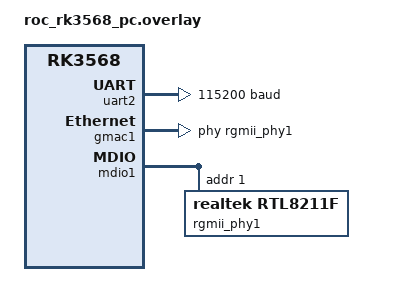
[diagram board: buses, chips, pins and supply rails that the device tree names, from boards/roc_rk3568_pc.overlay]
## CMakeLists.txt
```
# SPDX-License-Identifier: Apache-2.0

cmake_minimum_required(VERSION 3.28.0)

find_package(Zephyr REQUIRED HINTS $ENV{ZEPHYR_BASE})
project(gmac_bench)

target_sources(app PRIVATE
  src/main.c
  src/netio_srv.c
)
```

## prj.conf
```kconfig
# SPDX-License-Identifier: Apache-2.0

# RK3568 DWC GMAC bench image: iperf2-speaking zperf server, static IPv4,
# Ethernet/MMC statistics readable from the shell.

CONFIG_NETWORKING=y
CONFIG_NET_IPV4=y
CONFIG_NET_IPV6=n
CONFIG_NET_UDP=y
CONFIG_NET_TCP=y
CONFIG_NET_SOCKETS=y
CONFIG_NET_L2_ETHERNET=y
CONFIG_ETH_DRIVER=y

# zperf speaks iperf2 by default; the same Pi iperf2 used for the Linux
# ground truth can drive this image.
CONFIG_NET_ZPERF=y
CONFIG_NET_ZPERF_SERVER=y
CONFIG_NET_ZPERF_MAX_PACKET_SIZE=1500
CONFIG_NET_MAX_CONTEXTS=8

# net_sock_svc needs one poll entry per socket service (zperf UDP+TCP listeners,
# DHCP, ...); the default of 3 is not enough and aborts the service thread.
CONFIG_ZVFS_POLL_MAX=16

# The zperf iperf2 server registers its listening sockets with the socket
# service dispatcher. Upstream's zperf sample uses a cooperative dispatcher
# thread priority and a deeper stack; the 2 KiB default is not enough for the
# poll plus the logging paths on this build.
CONFIG_NET_SOCKETS_SERVICE_THREAD_PRIO=-1
CONFIG_NET_SOCKETS_SERVICE_STACK_SIZE=4096
CONFIG_STACK_SENTINEL=y
# The interface up/down events run in the net_mgmt thread. The 1536 byte
# ARM64 default is not enough once the bench callbacks log.
CONFIG_NET_MGMT_EVENT_STACK_SIZE=4096
CONFIG_NET_MAX_CONN=8

# Static addressing: the bench port sits on the same L2 segment as the Pi.
CONFIG_NET_CONFIG_SETTINGS=y
CONFIG_NET_CONFIG_MY_IPV4_ADDR="192.168.0.200"
CONFIG_NET_CONFIG_MY_IPV4_NETMASK="255.255.255.0"
CONFIG_NET_CONFIG_MY_IPV4_GW="192.168.0.1"
CONFIG_NET_CONFIG_AUTO_INIT=y

# Statistics: generic + Ethernet + per-MMC-counter vendor keys.
CONFIG_NET_STATISTICS=y
CONFIG_NET_STATISTICS_PERIODIC_OUTPUT=n
CONFIG_NET_STATISTICS_ETHERNET=y
CONFIG_NET_STATISTICS_ETHERNET_VENDOR=y
CONFIG_NET_STATISTICS_USER_API=y

# One frame per net_buf: the near-MTU bench payload must not be fragmented
# inside the stack. The DWMAC driver requires a multiple of the 64-bit bus.
CONFIG_NET_BUF_FIXED_DATA_SIZE=y
CONFIG_NET_BUF_DATA_SIZE=1536

CONFIG_NET_PKT_RX_COUNT=64
CONFIG_NET_PKT_TX_COUNT=32
CONFIG_NET_BUF_RX_COUNT=192
CONFIG_NET_BUF_TX_COUNT=64

CONFIG_DWMAC_NB_RX_DESCS=64
CONFIG_DWMAC_NB_TX_DESCS=32

CONFIG_NET_TX_STACK_SIZE=2048
CONFIG_NET_RX_STACK_SIZE=4096

# Make sure the MAC is initialized (and the PHY reset is released) before the
# PHY driver probes the MDIO bus.
CONFIG_ETH_INIT_PRIORITY=60
CONFIG_PHY_INIT_PRIORITY=65

CONFIG_SHELL=y
CONFIG_NET_SHELL=y
CONFIG_SHELL_CMDS_RESIZE=n

CONFIG_CACHE_MANAGEMENT=y
CONFIG_SPEED_OPTIMIZATIONS=y
CONFIG_TEST_RANDOM_GENERATOR=y

CONFIG_LOG=y
CONFIG_NET_LOG=y
CONFIG_LOG_MODE_IMMEDIATE=y
CONFIG_LOG_DEFAULT_LEVEL=3
CONFIG_ETHERNET_LOG_LEVEL_INF=y
CONFIG_PHY_LOG_LEVEL_INF=y
```

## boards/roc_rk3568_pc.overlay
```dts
/*
 * Bench wiring of the RK3568 E4AP5G1-ITX board, which is booted with the
 * ROC-RK3568-PC board support:
 *
 *  - the console runs at 115200 baud (the U-Boot/hub bench port),
 *  - the cabled port is gmac1 at 0xfe010000 with an RTL8211F PHY at MDIO
 *    address 1 and the PHY reset line on GPIO3 bit 18.
 *
 * SPDX-License-Identifier: Apache-2.0
 */

/ {
	chosen {
		zephyr,console = &uart2;
		zephyr,shell-uart = &uart2;
	};
};

&uart2 {
	current-speed = <115200>;
	status = "okay";
};

&gmac1 {
	status = "okay";
	phy-handle = <&rgmii_phy1>;
	local-mac-address = [02 e4 a5 35 68 01];
};

&mdio1 {
	rgmii_phy1: ethernet-phy@1 {
		compatible = "realtek,rtl8211f";
		reg = <1>;
		realtek,rgmii-delay = "none";
	};
};

/*
 * The ROC-RK3568-PC board support declares 1 MiB of SRAM. The RK3568 bench
 * board has 4 GiB of DDR and the benchmark needs deeper buffer pools, so let
 * Zephyr own the first 16 MiB of DDR starting at 0x40000000.
 */
&sram0 {
	reg = <0x40000000 0x01000000>;
};
```

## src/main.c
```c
/*
 * RK3568 DWC GMAC bench application.
 *
 * The image is brought up with a static IPv4 address so that the iperf2
 * client on the bench Pi can drive it without DHCP. The zperf library
 * provides the iperf2-compatible server; this file adds the pieces the
 * measurement needs on the board side:
 *
 *  - a `gmac` shell command dumping the driver's Ethernet statistics and
 *    the MAC's MMC counters (the receive FIFO overflow counter is the
 *    attribution point for loss reported by the client),
 *  - a periodic link/counter line so a serial capture is self-contained.
 *
 * SPDX-License-Identifier: Apache-2.0
 */

#include <zephyr/kernel.h>
#include <zephyr/logging/log.h>
#include <zephyr/net/ethernet.h>
#include <zephyr/net/ethernet_mgmt.h>
#include <zephyr/net/net_if.h>
#include <zephyr/net/net_ip.h>
#include <zephyr/net/net_mgmt.h>
#include <zephyr/shell/shell.h>

LOG_MODULE_REGISTER(gmac_bench, LOG_LEVEL_INF);

static struct net_if *bench_iface(void)
{
	return net_if_get_default();
}

static const struct device *bench_dev(void)
{
	struct net_if *iface = bench_iface();

	return iface != NULL ? net_if_get_device(iface) : NULL;
}

static void print_link(const struct shell *sh)
{
	struct net_if *iface = bench_iface();
	const struct net_linkaddr *addr;

	if (iface == NULL) {
		shell_error(sh, "no default interface");
		return;
	}

	addr = net_if_get_link_addr(iface);

	shell_fprintf(sh, SHELL_NORMAL, "iface up=%d carrier=%d mtu=%d\n",
		      net_if_is_up(iface) ? 1 : 0,
		      net_if_is_carrier_ok(iface) ? 1 : 0,
		      net_if_get_mtu(iface));
	shell_fprintf(sh, SHELL_NORMAL, "mac %02x:%02x:%02x:%02x:%02x:%02x\n",
		      addr->addr[0], addr->addr[1], addr->addr[2],
		      addr->addr[3], addr->addr[4], addr->addr[5]);
}

static void print_stats(const struct shell *sh)
{
	struct net_if *iface = bench_iface();
	struct net_stats_eth stats;

	if (iface == NULL) {
		shell_error(sh, "no default interface");
		return;
	}

	if (net_mgmt(NET_REQUEST_STATS_GET_ETHERNET, iface, &stats, sizeof(stats)) != 0) {
		shell_error(sh, "no Ethernet statistics");
		return;
	}

	shell_fprintf(sh, SHELL_NORMAL,
		      "eth rx_pkts=%u tx_pkts=%u rx_bytes=%u tx_bytes=%u\n",
		      (uint32_t)stats.pkts.rx, (uint32_t)stats.pkts.tx,
		      (uint32_t)stats.bytes.received, (uint32_t)stats.bytes.sent);
	shell_fprintf(sh, SHELL_NORMAL,
		      "eth rx_err=%u tx_err=%u crc=%u overrun=%u no_buf=%u\n",
		      (uint32_t)stats.errors.rx, (uint32_t)stats.errors.tx,
		      (uint32_t)stats.error_details.rx_crc_errors,
		      (uint32_t)stats.error_details.rx_over_errors,
		      (uint32_t)stats.error_details.rx_no_buffer_count);

	if (stats.vendor == NULL) {
		return;
	}

	for (size_t i = 0; stats.vendor[i].key != NULL; i++) {
		shell_fprintf(sh, SHELL_NORMAL, "mmc %s=%u\n", stats.vendor[i].key,
			      (uint32_t)stats.vendor[i].value);
	}
}

static int cmd_gmac_stats(const struct shell *sh, size_t argc, char **argv)
{
	ARG_UNUSED(argc);
	ARG_UNUSED(argv);

	print_stats(sh);

	return 0;
}

static int cmd_gmac_link(const struct shell *sh, size_t argc, char **argv)
{
	ARG_UNUSED(argc);
	ARG_UNUSED(argv);

	print_link(sh);

	return 0;
}

static void periodic_report(struct k_work *work);
static K_WORK_DELAYABLE_DEFINE(report_work, periodic_report);

static void periodic_report(struct k_work *work)
{
	struct net_if *iface = bench_iface();

	ARG_UNUSED(work);

	if (iface != NULL) {
		LOG_INF("uptime=%lld ms carrier=%d", k_uptime_get(),
			net_if_is_carrier_ok(iface) ? 1 : 0);
	}

	k_work_reschedule(&report_work, K_SECONDS(10));
}

static int bench_init(void)
{
	const struct device *dev = bench_dev();

	if (dev == NULL) {
		LOG_ERR("no default Ethernet device");
		return -ENODEV;
	}

	LOG_INF("bench device %s ready=%d", dev->name, device_is_ready(dev) ? 1 : 0);

	k_work_reschedule(&report_work, K_SECONDS(10));

	return 0;
}

SYS_INIT(bench_init, APPLICATION, CONFIG_APPLICATION_INIT_PRIORITY);

SHELL_STATIC_SUBCMD_SET_CREATE(gmac_cmds,
	SHELL_CMD_ARG(stats, NULL, "Dump Ethernet and MMC counters", cmd_gmac_stats, 1, 0),
	SHELL_CMD_ARG(link, NULL, "Dump interface state and MAC address", cmd_gmac_link, 1, 0),
	SHELL_SUBCMD_SET_END);

SHELL_CMD_REGISTER(gmac, &gmac_cmds, "RK3568 GMAC bench commands", NULL);
```

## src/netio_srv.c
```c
/*
 * Copyright (c) 2026 The Zephyr Project Contributors
 *
 * SPDX-License-Identifier: Apache-2.0
 *
 * netio server: the board side of the netio wire protocol used by this
 * project's throughput instrument.
 *
 * The protocol is the one Arm's MDK-Middleware netio test speaks and the one
 * the RTOS line in this repository measures with, so the unmodified upstream
 * netio client on the lab host drives both ends:
 *
 *   - TCP control connection on port 18768,
 *   - UDP data on port 18768 (same number),
 *   - 8 byte control messages, two big endian words {cmd, data}:
 *       CMD_C2S (1): the client sends data, data = packet size. The server
 *                    acknowledges and counts the datagrams it receives.
 *       CMD_RES (3): the client asks for the result, data = packet count.
 *       CMD_S2C (2): the server sends data for the window duration, then
 *                    reports the number of datagrams it sent.
 *       CMD_QUIT (0): close the control connection.
 *
 * The C2S direction (host -> board) is what the receive-side measurements
 * use; S2C is implemented so that the same client binary can run its full
 * sequence without a special case on the host.
 */

#include <zephyr/kernel.h>
#include <zephyr/net/socket.h>
#include <zephyr/shell/shell.h>
#include <zephyr/sys/byteorder.h>
#include <zephyr/logging/log.h>

LOG_MODULE_REGISTER(netio_srv, LOG_LEVEL_INF);

#define NETIO_PORT	18768
#define NETIO_WINDOW_MS	6000
#define NETIO_BUF_SIZE	2048

#define CMD_QUIT	0
#define CMD_C2S		1
#define CMD_S2C		2
#define CMD_RES		3

struct netio_msg {
	uint32_t cmd;
	uint32_t data;
};

struct netio_state {
	int listen_fd;
	int conn_fd;
	int udp_fd;
	struct sockaddr_in peer;
	uint32_t pkt_size;
	uint32_t c2s_count;
	uint32_t s2c_count;
	bool running;
};

static struct netio_state srv = {
	.listen_fd = -1,
	.conn_fd = -1,
	.udp_fd = -1,
};

static uint8_t netio_buf[NETIO_BUF_SIZE] __aligned(64);

static int netio_udp_open(void)
{
	struct sockaddr_in addr = {
		.sin_family = AF_INET,
		.sin_port = htons(NETIO_PORT),
		.sin_addr.s_addr = htonl(INADDR_ANY),
	};
	int fd;

	fd = zsock_socket(AF_INET, SOCK_DGRAM, IPPROTO_UDP);
	if (fd < 0) {
		LOG_ERR("udp socket: %d", -errno);
		return -errno;
	}

	if (zsock_bind(fd, (struct sockaddr *)&addr, sizeof(addr)) < 0) {
		LOG_ERR("udp bind: %d", -errno);
		zsock_close(fd);
		return -errno;
	}

	srv.udp_fd = fd;

	return 0;
}

static void netio_udp_drain(void)
{
	while (true) {
		ssize_t len;

		len = zsock_recvfrom(srv.udp_fd, netio_buf, sizeof(netio_buf),
				     ZSOCK_MSG_DONTWAIT, NULL, NULL);
		if (len < 0) {
			break;
		}

		srv.c2s_count++;
	}
}

static int netio_control_send(struct netio_msg *msg)
{
	ssize_t sent;

	sent = zsock_send(srv.conn_fd, msg, sizeof(*msg), 0);
	if (sent != (ssize_t)sizeof(*msg)) {
		LOG_ERR("control send: %d", sent < 0 ? -errno : -EIO);
		return -EIO;
	}

	return 0;
}

static void netio_s2c_run(uint32_t pkt_size, struct sockaddr_in *peer)
{
	uint32_t sent = 0;
	uint64_t end;

	if (pkt_size > sizeof(netio_buf)) {
		return;
	}

	peer->sin_port = htons(NETIO_PORT);
	memset(netio_buf, 0, pkt_size);

	end = k_uptime_get() + NETIO_WINDOW_MS;

	while (k_uptime_get() < end) {
		ssize_t len;

		len = zsock_sendto(srv.udp_fd, netio_buf, pkt_size, 0,
				   (struct sockaddr *)peer, sizeof(*peer));
		if (len < 0) {
			continue;
		}

		sent++;
	}

	srv.s2c_count = sent;
	LOG_INF("netio: s2c sent=%u pkt=%u", sent, pkt_size);
}

static void netio_c2s_begin(uint32_t pkt_size)
{
	srv.pkt_size = pkt_size;
	srv.c2s_count = 0;
}

static void netio_c2s_report(void)
{
	LOG_INF("netio: c2s rx=%u pkt=%u", srv.c2s_count, srv.pkt_size);
}

static void netio_handle_control(struct netio_msg *msg)
{
	struct netio_msg reply;

	switch (msg->cmd) {
	case CMD_C2S:
		netio_c2s_begin(msg->data);
		reply.cmd = sys_cpu_to_be32(CMD_C2S);
		reply.data = sys_cpu_to_be32(0);
		(void)netio_control_send(&reply);
		break;
	case CMD_RES:
		netio_c2s_report();
		reply.cmd = sys_cpu_to_be32(CMD_RES);
		reply.data = sys_cpu_to_be32(srv.c2s_count);
		(void)netio_control_send(&reply);
		break;
	case CMD_S2C:
		if (srv.udp_fd < 0) {
			(void)netio_udp_open();
		}
		netio_s2c_run(msg->data, &srv.peer);
		reply.cmd = sys_cpu_to_be32(CMD_RES);
		reply.data = sys_cpu_to_be32(srv.s2c_count);
		(void)netio_control_send(&reply);
		break;
	case CMD_QUIT:
	default:
		LOG_INF("netio: quit");
		if (srv.conn_fd >= 0) {
			zsock_close(srv.conn_fd);
			srv.conn_fd = -1;
		}
		break;
	}
}

static void netio_handle_conn(void)
{
	struct netio_msg msg;
	ssize_t len;

	len = zsock_recv(srv.conn_fd, &msg, sizeof(msg), ZSOCK_MSG_DONTWAIT);
	if (len < 0) {
		if (errno != EAGAIN && errno != EWOULDBLOCK) {
			LOG_ERR("control recv: %d", -errno);
			zsock_close(srv.conn_fd);
			srv.conn_fd = -1;
		}
		return;
	}

	if (len == 0) {
		LOG_INF("netio: control closed by peer");
		zsock_close(srv.conn_fd);
		srv.conn_fd = -1;
		return;
	}

	if (len != (ssize_t)sizeof(msg)) {
		/* The 8 byte control messages never straddle segments in
		 * practice; a short read is treated as a protocol error.
		 */
		LOG_ERR("control short read %d", (int)len);
		zsock_close(srv.conn_fd);
		srv.conn_fd = -1;
		return;
	}

	msg.cmd = sys_be32_to_cpu(msg.cmd);
	msg.data = sys_be32_to_cpu(msg.data);

	netio_handle_control(&msg);
}

static void netio_accept(void)
{
	struct sockaddr_in addr;
	socklen_t addr_len = sizeof(addr);
	int fd;

	fd = zsock_accept(srv.listen_fd, (struct sockaddr *)&addr, &addr_len);
	if (fd < 0) {
		LOG_ERR("accept: %d", -errno);
		return;
	}

	if (srv.conn_fd >= 0) {
		zsock_close(srv.conn_fd);
	}

	srv.conn_fd = fd;
	srv.peer = addr;
	LOG_INF("netio: control from %s:%d",
		zsock_inet_ntop(AF_INET, &addr.sin_addr, netio_buf,
				INET_ADDRSTRLEN),
		ntohs(addr.sin_port));
}

static void netio_thread(void *p1, void *p2, void *p3)
{
	struct sockaddr_in addr = {
		.sin_family = AF_INET,
		.sin_port = htons(NETIO_PORT),
		.sin_addr.s_addr = htonl(INADDR_ANY),
	};

	ARG_UNUSED(p1);
	ARG_UNUSED(p2);
	ARG_UNUSED(p3);

	srv.listen_fd = zsock_socket(AF_INET, SOCK_STREAM, 0);
	if (srv.listen_fd < 0) {
		LOG_ERR("control socket: %d", -errno);
		return;
	}

	if (zsock_bind(srv.listen_fd, (struct sockaddr *)&addr, sizeof(addr)) < 0 ||
	    zsock_listen(srv.listen_fd, 1) < 0) {
		LOG_ERR("control bind/listen: %d", -errno);
		return;
	}

	if (netio_udp_open() < 0) {
		return;
	}

	LOG_INF("netio: server on port %d", NETIO_PORT);

	while (true) {
		struct zsock_pollfd fds[3];
		int nfds = 0;
		int ret;

		fds[nfds].fd = srv.listen_fd;
		fds[nfds].events = ZSOCK_POLLIN;
		nfds++;

		if (srv.conn_fd >= 0) {
			fds[nfds].fd = srv.conn_fd;
			fds[nfds].events = ZSOCK_POLLIN;
			nfds++;
		}

		if (srv.udp_fd >= 0) {
			fds[nfds].fd = srv.udp_fd;
			fds[nfds].events = ZSOCK_POLLIN;
			nfds++;
		}

		ret = zsock_poll(fds, nfds, -1);
		if (ret < 0) {
			LOG_ERR("poll: %d", -errno);
			continue;
		}

		for (int i = 0; i < nfds; i++) {
			if ((fds[i].revents & ZSOCK_POLLIN) == 0) {
				continue;
			}

			if (fds[i].fd == srv.listen_fd) {
				netio_accept();
			} else if (fds[i].fd == srv.conn_fd) {
				netio_handle_conn();
			} else if (fds[i].fd == srv.udp_fd) {
				netio_udp_drain();
			}
		}
	}
}

/* Cooperative priority: the drain loop must not be preempted in the middle of
 * a poll wakeup, but it always returns to the poll when the socket is empty so
 * the network RX thread gets the CPU back.
 */
K_THREAD_DEFINE(netio_tid, 4096, netio_thread, NULL, NULL, NULL,
		K_PRIO_COOP(CONFIG_NUM_COOP_PRIORITIES - 1), 0, 0);

static int cmd_netio_status(const struct shell *sh, size_t argc, char **argv)
{
	ARG_UNUSED(argc);
	ARG_UNUSED(argv);

	shell_print(sh, "netio: c2s=%u (pkt=%u) s2c=%u", srv.c2s_count,
		    srv.pkt_size, srv.s2c_count);

	return 0;
}

SHELL_STATIC_SUBCMD_SET_CREATE(netio_cmds,
	SHELL_CMD(status, NULL, "netio counters", cmd_netio_status),
	SHELL_SUBCMD_SET_END
);

SHELL_CMD_REGISTER(netio, &netio_cmds, "netio server", NULL);
```
